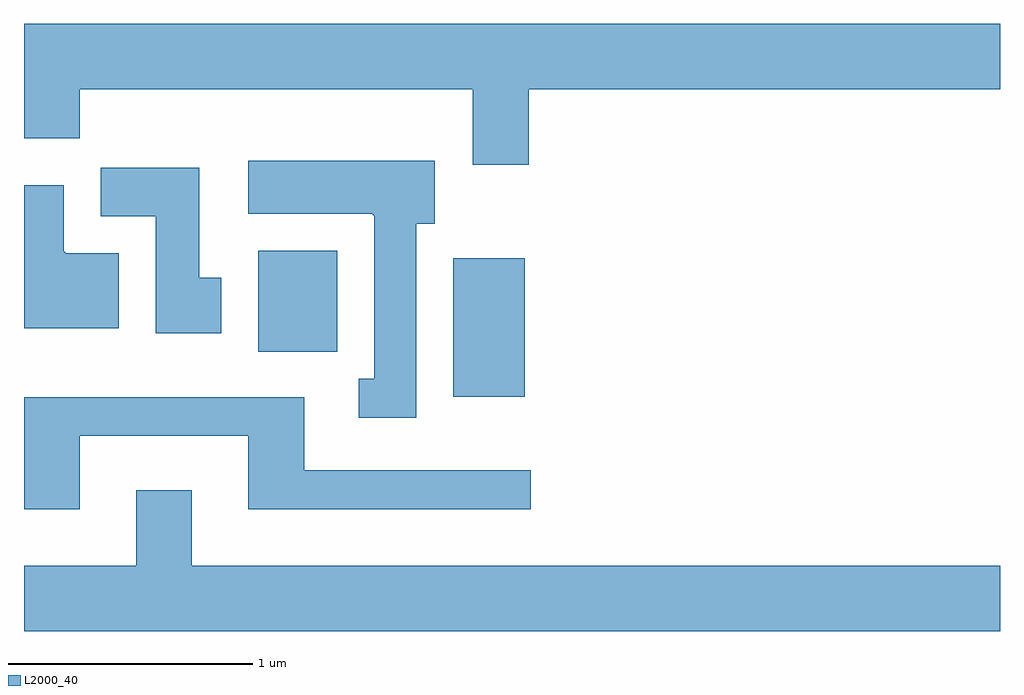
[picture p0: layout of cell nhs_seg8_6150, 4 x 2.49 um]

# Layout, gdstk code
import gdstk
lib = gdstk.Library(unit=1e-6, precision=1e-09)
def R(c, l, rs):  # rectangles x0, y0, x1, y1
    for r in rs: c.add(gdstk.rectangle(r[:2], r[2:], *l))
def P(c, l, *ps):  # polygons
    for p in ps: c.add(gdstk.Polygon(p, *l))
L2000_40 = (2000, 40)

nhs_seg8_6150 = lib.new_cell('nhs_seg8_6150')
R(nhs_seg8_6150, L2000_40, [(371.371,1844.036,371.664,1844.604), (370.571,1844.221,370.894,1844.634)])
P(nhs_seg8_6150, L2000_40, [(371.679,1845.296),(373.611,1845.296),(373.611,1845.564),(369.611,1845.564),(369.611,1845.096),(369.839,1845.096),(369.839,1845.296),(371.451,1845.296),(371.451,1844.986),(371.679,1844.986)],
  [(371.219,1844.746),(371.294,1844.746),(371.294,1845.004),(370.531,1845.004),(370.531,1844.786),(371.04,1844.786),(371.04,1844.78),(371.046,1844.78),(371.046,1844.109),(370.983,1844.109),(370.983,1843.951),(371.219,1843.951)],
  [(370.419,1844.524),(370.329,1844.524),(370.329,1844.974),(369.926,1844.974),(369.926,1844.776),(370.151,1844.776),(370.151,1844.296),(370.419,1844.296)],
  [(369.999,1844.624),(369.78,1844.624),(369.78,1844.63),(369.774,1844.63),(369.774,1844.904),(369.611,1844.904),(369.611,1844.316),(369.999,1844.316)],
  [(369.839,1843.876),(370.531,1843.876),(370.531,1843.576),(371.688,1843.576),(371.688,1843.734),(370.759,1843.734),(370.759,1844.034),(369.611,1844.034),(369.611,1843.576),(369.839,1843.576)],
  [(373.611,1843.344),(370.299,1843.344),(370.299,1843.654),(370.071,1843.654),(370.071,1843.344),(369.611,1843.344),(369.611,1843.076),(373.611,1843.076)])

lib.write_gds('nhs_seg8_6150.gds')
